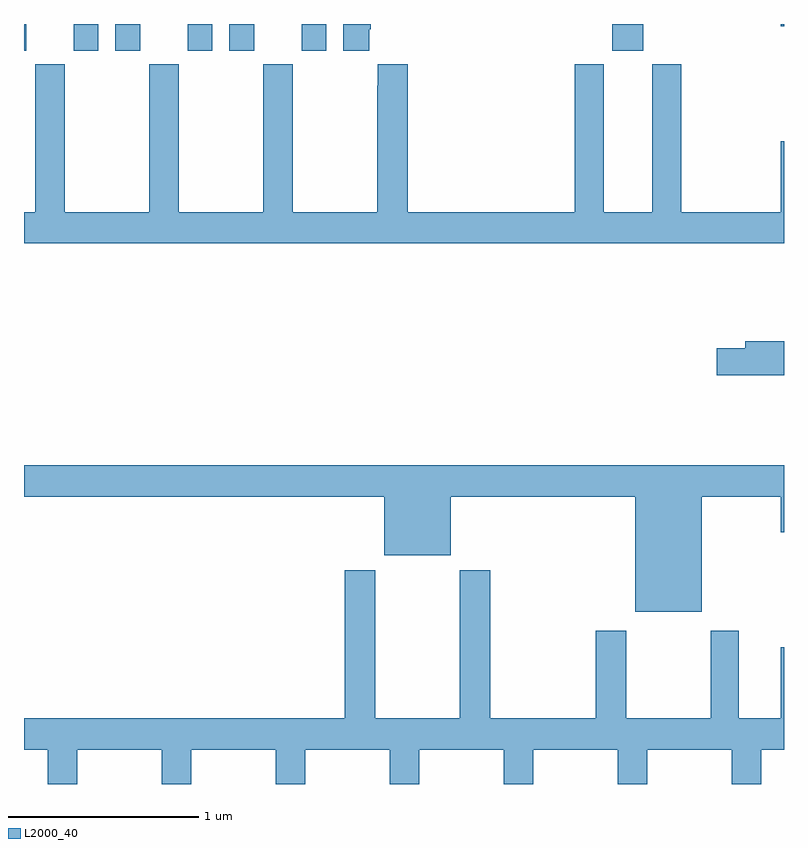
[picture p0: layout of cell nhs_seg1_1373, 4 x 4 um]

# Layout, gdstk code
import gdstk
lib = gdstk.Library(unit=1e-6, precision=1e-09)
def R(c, l, rs):  # rectangles x0, y0, x1, y1
    for r in rs: c.add(gdstk.rectangle(r[:2], r[2:], *l))
def P(c, l, *ps):  # polygons
    for p in ps: c.add(gdstk.Polygon(p, *l))
L2000_40 = (2000, 40)

nhs_seg1_1373 = lib.new_cell('nhs_seg1_1373')
R(nhs_seg1_1373, L2000_40, [(185,574.059,185.011,574.199), (185.261,574.059,185.392,574.199), (185.48,574.059,185.611,574.199), (185.861,574.059,185.992,574.199), (186.08,574.059,186.211,574.199), (186.461,574.059,186.592,574.199), (188.096,574.059,188.26,574.199), (188.984,574.188,189,574.199)])
P(nhs_seg1_1373, L2000_40, [(186.817,574.171),(186.824,574.171),(186.824,574.199),(186.68,574.199),(186.68,574.059),(186.817,574.059)],
  [(189,573.583),(188.984,573.583),(188.984,573.208),(188.459,573.208),(188.459,573.987),(188.306,573.987),(188.306,573.208),(188.05,573.208),(188.05,573.987),(187.898,573.987),(187.898,573.208),(187.019,573.208),(187.019,573.988),(186.863,573.988),(186.863,573.875),(186.859,573.875),(186.859,573.208),(186.414,573.208),(186.414,573.988),(186.259,573.988),(186.259,573.208),(185.814,573.208),(185.814,573.988),(185.659,573.988),(185.659,573.208),(185.214,573.208),(185.214,573.988),(185.059,573.988),(185.059,573.208),(185,573.208),(185,573.044),(189,573.044)],
  [(189,572.528),(188.795,572.528),(188.795,572.492),(188.646,572.492),(188.646,572.35),(189,572.35)],
  [(188.566,571.712),(188.984,571.712),(188.984,571.524),(189,571.524),(189,571.876),(185,571.876),(185,571.712),(186.896,571.712),(186.896,571.403),(187.246,571.403),(187.246,571.712),(188.216,571.712),(188.216,571.106),(188.566,571.106)],
  [(186.925,570.199),(187.08,570.199),(187.08,570.38),(187.525,570.38),(187.525,570.199),(187.68,570.199),(187.68,570.38),(188.125,570.38),(188.125,570.199),(188.28,570.199),(188.28,570.38),(188.725,570.38),(188.725,570.199),(188.88,570.199),(188.88,570.38),(189,570.38),(189,570.919),(188.984,570.919),(188.984,570.544),(188.761,570.544),(188.761,571.006),(188.614,571.006),(188.614,570.544),(188.169,570.544),(188.169,571.006),(188.009,571.006),(188.009,570.544),(187.454,570.544),(187.454,571.324),(187.294,571.324),(187.294,570.544),(186.849,570.544),(186.849,571.324),(186.689,571.324),(186.689,570.544),(185,570.544),(185,570.38),(185.125,570.38),(185.125,570.199),(185.28,570.199),(185.28,570.38),(185.725,570.38),(185.725,570.199),(185.88,570.199),(185.88,570.38),(186.325,570.38),(186.325,570.199),(186.48,570.199),(186.48,570.38),(186.925,570.38)])

lib.write_gds('nhs_seg1_1373.gds')
